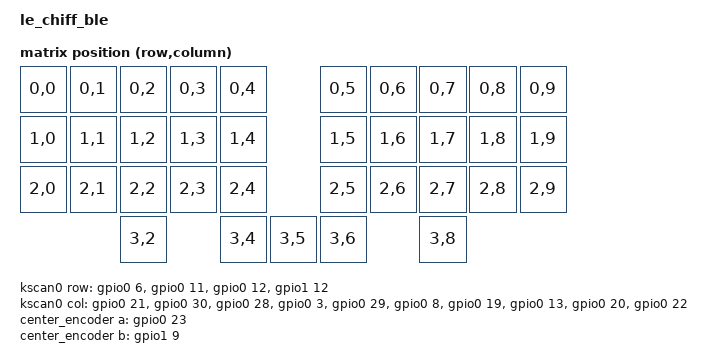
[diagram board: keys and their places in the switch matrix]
/*
 * Copyright (c) 2020 The ZMK Contributors
 *
 * SPDX-License-Identifier: MIT
 */

/dts-v1/;
#include <nordic/nrf52840_qiaa.dtsi>
#include <dt-bindings/led/led.h>
#include <dt-bindings/zmk/matrix_transform.h>

/ {
	model = "le_chiff_ble";
	compatible = "xixiya,le_chiff_ble";

	chosen {
		zephyr,code-partition = &code_partition;
		zephyr,sram = &sram0;
		zephyr,flash = &flash0;
		zmk,kscan = &kscan0;
		zmk,matrix_transform = &one_2u_transform;
		zmk,battery = &vbatt;
	};
	one_2u_transform:keymap_transform_0 {
		compatible = "zmk,matrix-transform";
		rows = <4>;
		columns = <10>;
		map = <
		RC(0,0) RC(0,1) RC(0,2) RC(0,3) RC(0,4)  		  RC(0,5) RC(0,6) RC(0,7) RC(0,8) RC(0,9)
		RC(1,0) RC(1,1) RC(1,2) RC(1,3) RC(1,4) 		  RC(1,5) RC(1,6) RC(1,7) RC(1,8) RC(1,9)
		RC(2,0) RC(2,1) RC(2,2) RC(2,3) RC(2,4)			  RC(2,5) RC(2,6) RC(2,7) RC(2,8) RC(2,9)
		                RC(3,2)         RC(3,4)  RC(3,5)  RC(3,6)         RC(3,8)
		>;

	};

	kscan0: kscan {
		compatible = "zmk,kscan-gpio-matrix";
		label = "KSCAN";

		diode-direction = "col2row";
		col-gpios
			= <&gpio0 21 GPIO_ACTIVE_HIGH>
			, <&gpio0 30 GPIO_ACTIVE_HIGH>
			, <&gpio0 28 GPIO_ACTIVE_HIGH>
			, <&gpio0 3 GPIO_ACTIVE_HIGH>
			, <&gpio0 29 GPIO_ACTIVE_HIGH>
			, <&gpio0 8 GPIO_ACTIVE_HIGH>
			, <&gpio0 19 GPIO_ACTIVE_HIGH>
			, <&gpio0 13 GPIO_ACTIVE_HIGH>
			, <&gpio0 20 GPIO_ACTIVE_HIGH>
			, <&gpio0 22 GPIO_ACTIVE_HIGH>
			;
		row-gpios
			= <&gpio0 6 (GPIO_ACTIVE_HIGH | GPIO_PULL_DOWN)>
			, <&gpio0 11 (GPIO_ACTIVE_HIGH | GPIO_PULL_DOWN)>
			, <&gpio0 12  (GPIO_ACTIVE_HIGH | GPIO_PULL_DOWN)>
			, <&gpio1 12 (GPIO_ACTIVE_HIGH | GPIO_PULL_DOWN)>
			;
	};

	center_encoder: encoder_center {
		compatible = "alps,ec11";
		label = "CENTER_ENCODER";
		a-gpios = <&gpio0 23 (GPIO_ACTIVE_HIGH | GPIO_PULL_UP)>;
		b-gpios = <&gpio1  9 (GPIO_ACTIVE_HIGH | GPIO_PULL_UP)>;
		steps = <80>;
		status = "okay";
	};
	sensors {
		compatible = "zmk,keymap-sensors";
		sensors = <&center_encoder>;

	};

	vbatt: vbatt {
        compatible = "zmk,battery-voltage-divider";
        io-channels = <&adc 2>;
        output-ohms = <2000000>;
        full-ohms = <(2000000 + 806000)>;
    };
	leds {
        compatible = "gpio-leds";
        red_led: led_0 {
            gpios = <&gpio0 15 GPIO_ACTIVE_HIGH>;
            label = "Red LED";
		};
    };
};

&adc {
	status = "okay";
};

&gpiote {
	status = "okay";
};

&gpio0 {
	status = "okay";
};

&gpio1 {
	status = "okay";
};

&usbd {
    status = "okay";
    cdc_acm_uart: cdc_acm_uart {
        compatible = "zephyr,cdc-acm-uart";
    };
};

&flash0 {
	/*
	 * For more information, see:
	 * http://docs.zephyrproject.org/latest/devices/dts/flash_partitions.html
	 */
	partitions {
		compatible = "fixed-partitions";
		#address-cells = <1>;
		#size-cells = <1>;

		sd_partition: partition@0 {
			label = "mbr";
			reg = <0x00000000 0x00001000>;
		};
		code_partition: partition@1000 {
			label = "code_partition";
			reg = <0x00001000 0x000d3000>;
		};

		storage_partition: partition@d4000 {
			label = "storage";
			reg = <0x000d4000 0x00020000>;
		};

		boot_partition: partition@f4000 {
			label = "adafruit_boot";
			reg = <0x000f4000 0x0000c000>;
		};
	};
};
